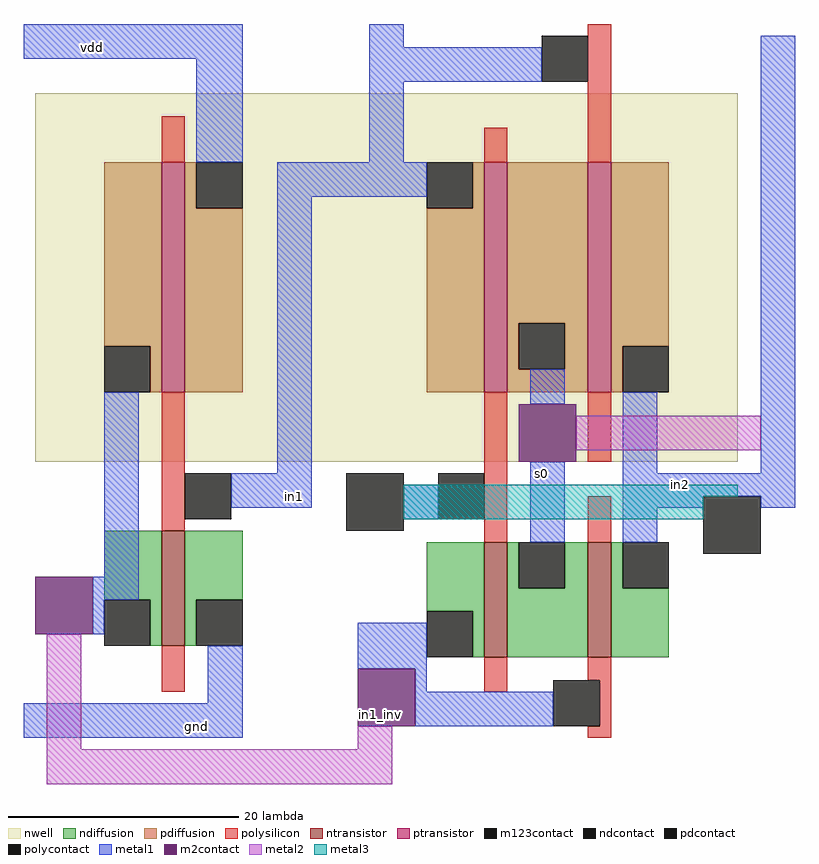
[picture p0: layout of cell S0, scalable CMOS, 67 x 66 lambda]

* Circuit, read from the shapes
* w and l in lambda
.subckt S0 gnd in1 in1_inv in2 vdd
M1 gnd in1 in1_inv VSUBS nfet w=10 l=2
M2 n1 in2 in1_inv VSUBS nfet w=10 l=2
M3 in2 in1_inv n1 VSUBS nfet w=10 l=2
M4 vdd in1 in1_inv n2 pfet w=20 l=2
M5 n1 in2 in1 n2 pfet w=20 l=2
M6 in2 in1 n1 n2 pfet w=20 l=2
.ends

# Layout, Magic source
magic
tech scmos
<< nwell >>
rect -191 -85 -130 -53
<< ntransistor >>
rect -180 -101 -178 -91
rect -152 -102 -150 -92
rect -143 -102 -141 -92
<< ptransistor >>
rect -180 -79 -178 -59
rect -152 -79 -150 -59
rect -143 -79 -141 -59
<< ndiffusion >>
rect -185 -97 -180 -91
rect -181 -101 -180 -97
rect -178 -97 -173 -91
rect -178 -101 -177 -97
rect -157 -98 -152 -92
rect -153 -102 -152 -98
rect -150 -96 -149 -92
rect -145 -96 -143 -92
rect -150 -102 -143 -96
rect -141 -96 -140 -92
rect -141 -102 -136 -96
<< pdiffusion >>
rect -185 -75 -180 -59
rect -181 -79 -180 -75
rect -178 -63 -177 -59
rect -178 -79 -173 -63
rect -153 -63 -152 -59
rect -157 -79 -152 -63
rect -150 -73 -143 -59
rect -150 -77 -149 -73
rect -145 -77 -143 -73
rect -150 -79 -143 -77
rect -141 -75 -136 -59
rect -141 -79 -140 -75
<< ndcontact >>
rect -185 -101 -181 -97
rect -177 -101 -173 -97
rect -157 -102 -153 -98
rect -149 -96 -145 -92
rect -140 -96 -136 -92
<< pdcontact >>
rect -185 -79 -181 -75
rect -177 -63 -173 -59
rect -157 -63 -153 -59
rect -149 -77 -145 -73
rect -140 -79 -136 -75
<< polysilicon >>
rect -180 -59 -178 -55
rect -152 -59 -150 -56
rect -143 -59 -141 -47
rect -180 -91 -178 -79
rect -152 -92 -150 -79
rect -143 -85 -141 -79
rect -143 -92 -141 -88
rect -180 -105 -178 -101
rect -152 -105 -150 -102
rect -143 -104 -141 -102
rect -142 -108 -141 -104
rect -143 -109 -141 -108
<< polycontact >>
rect -147 -52 -143 -48
rect -178 -90 -174 -86
rect -156 -90 -152 -86
rect -146 -108 -142 -104
<< metal1 >>
rect -192 -50 -173 -47
rect -177 -59 -173 -50
rect -162 -49 -159 -47
rect -162 -52 -147 -49
rect -162 -59 -159 -52
rect -170 -62 -157 -59
rect -185 -95 -182 -79
rect -170 -86 -167 -62
rect -148 -80 -145 -77
rect -174 -89 -167 -86
rect -159 -90 -156 -87
rect -148 -92 -145 -85
rect -186 -97 -182 -95
rect -140 -86 -137 -79
rect -128 -86 -125 -48
rect -140 -88 -125 -86
rect -140 -89 -133 -88
rect -140 -92 -137 -89
rect -128 -89 -125 -88
rect -186 -100 -185 -97
rect -176 -106 -173 -101
rect -192 -109 -173 -106
rect -163 -103 -157 -99
rect -158 -105 -157 -103
rect -158 -108 -146 -105
<< m2contact >>
rect -149 -85 -144 -80
rect -191 -100 -186 -95
rect -163 -108 -158 -103
<< metal2 >>
rect -144 -84 -128 -81
rect -190 -110 -187 -100
rect -163 -110 -160 -108
rect -190 -113 -160 -110
<< m123contact >>
rect -164 -91 -159 -86
rect -133 -93 -128 -88
<< metal3 >>
rect -159 -88 -130 -87
rect -159 -90 -133 -88
<< labels >>
rlabel metal3 -135 -87 -135 -87 1 in2
rlabel m2contact -161 -107 -161 -107 1 in1_inv
rlabel metal1 -170 -89 -167 -87 7 in1
rlabel metal1 -177 -108 -177 -108 1 gnd
rlabel metal1 -186 -49 -186 -49 5 vdd
rlabel metal1 -148 -87 -146 -85 1 s0
<< end >>
